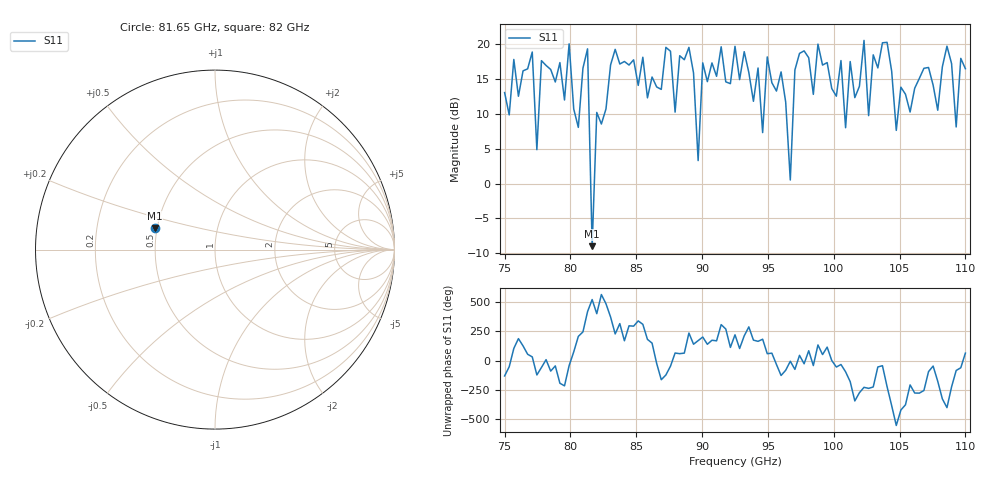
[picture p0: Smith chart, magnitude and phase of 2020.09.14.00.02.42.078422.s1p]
!Created with skrf (http://scikit-rf.org).
# GHz S RI R 50.0
!freq ReS11 ImS11
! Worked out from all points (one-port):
!   101 points, 75 GHz to 110 GHz, reference 50 ohm
!   lowest |S11| = -9.0 dB at 81.65 GHz (marker M1), VSWR 2.10, Z = 24.3 + j6.69 ohm
!   |S11| at or under -10 dB: nowhere
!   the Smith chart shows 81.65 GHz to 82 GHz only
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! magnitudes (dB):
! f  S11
! 75 GHz  13.1
! 77.1 GHz  18.9
! 77.45 GHz  4.9
! 77.8 GHz  17.6
! 79.55 GHz  12.0
! 79.9 GHz  20.1
! 80.6 GHz  8.1
! 81.3 GHz  19.3
! 81.65 GHz  -9.0
! 82 GHz  10.2
! 83.75 GHz  17.2
! 87.6 GHz  19.0
! 87.95 GHz  10.3
! 88.3 GHz  18.3
! 89.35 GHz  15.9
! 89.7 GHz  3.3
! 90.05 GHz  17.3
! 92.5 GHz  19.7
! 94.6 GHz  7.3
! 94.95 GHz  18.2
! 96 GHz  16.0
! 96.7 GHz  0.5
! 97.05 GHz  16.3
! 100.5 GHz  17.7
! 100.9 GHz  8.0
! 101.2 GHz  17.5
! 105.8 GHz  10.3
! 110 GHz  16.5
